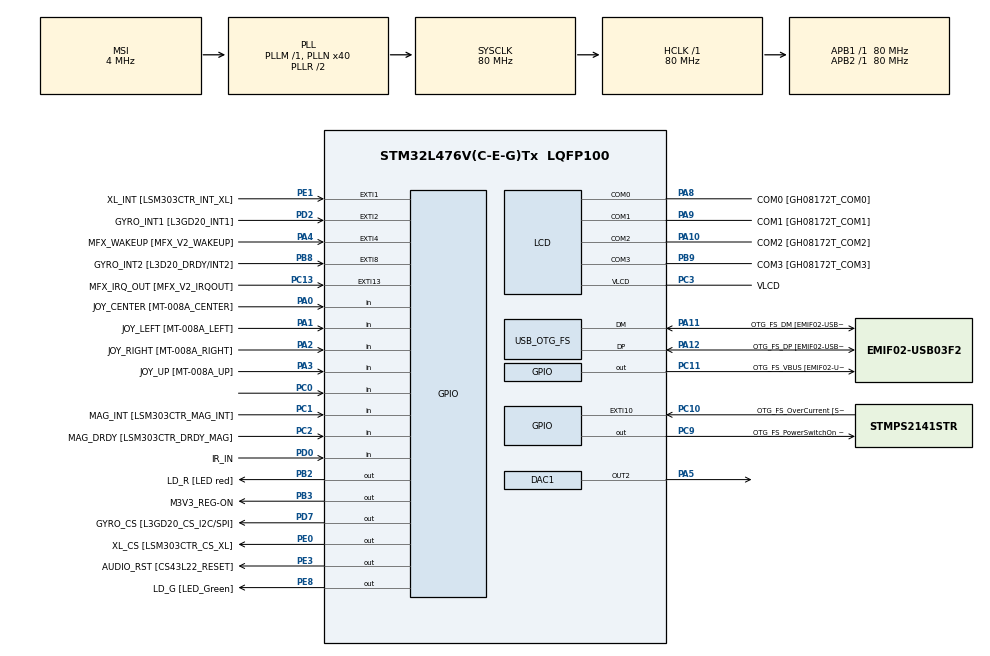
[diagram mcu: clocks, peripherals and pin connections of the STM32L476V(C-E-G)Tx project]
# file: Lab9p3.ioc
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DAC1.DAC_Channel-DAC_OUT2=DAC_CHANNEL_2
Mcu.Family=STM32L4
Mcu.Name=STM32L476V(C-E-G)Tx
Mcu.Package=LQFP100
NVIC.LCD_IRQn=true\:0\:0\:false\:false\:true\:true\:false\:true
NVIC.OTG_FS_IRQn=true\:0\:0\:false\:false\:true\:true\:true\:true
NVIC.PriorityGroup=NVIC_PRIORITYGROUP_4
NVIC.TIM1_UP_TIM16_IRQn=true\:0\:0\:false\:false\:true\:true\:true\:true
NVIC.TIM6_DAC_IRQn=true\:0\:0\:false\:false\:true\:true\:true\:true
PA0.GPIO_Label=JOY_CENTER [MT-008A_CENTER]
PA0.GPIO_Mode=GPIO_MODE_INPUT
PA0.GPIO_PuPd=GPIO_PULLDOWN
PA0.Signal=GPIO_Input
PA1.GPIO_Label=JOY_LEFT [MT-008A_LEFT]
PA1.GPIO_Mode=GPIO_MODE_INPUT
PA1.GPIO_PuPd=GPIO_PULLDOWN
PA1.Signal=GPIO_Input
PA10.GPIO_Label=COM2 [GH08172T_COM2]
PA10.GPIO_Mode=GPIO_MODE_AF_PP
PA10.GPIO_PuPd=GPIO_NOPULL
PA10.GPIO_Speed=GPIO_SPEED_FREQ_LOW
PA10.Mode=1/4 Duty Cycle
PA10.Signal=LCD_COM2
PA11.GPIO_Label=OTG_FS_DM [EMIF02-USB03F2_D-out]
PA11.GPIO_Mode=GPIO_MODE_AF_PP
PA11.GPIO_PuPd=GPIO_NOPULL
PA11.GPIO_Speed=GPIO_SPEED_FREQ_VERY_HIGH
PA11.Mode=Host_Only
PA11.Signal=USB_OTG_FS_DM
PA12.GPIO_Label=OTG_FS_DP [EMIF02-USB03F2_D+out]
PA12.GPIO_Mode=GPIO_MODE_AF_PP
PA12.GPIO_PuPd=GPIO_NOPULL
PA12.GPIO_Speed=GPIO_SPEED_FREQ_VERY_HIGH
PA12.Mode=Host_Only
PA12.Signal=USB_OTG_FS_DP
PA13\ (JTMS-SWDIO).GPIO_Label=SWDIO
PA13\ (JTMS-SWDIO).Mode=Serial_Wire
PA13\ (JTMS-SWDIO).Signal=SYS_JTMS-SWDIO
PA14\ (JTCK-SWCLK).GPIO_Label=SWCLK
PA14\ (JTCK-SWCLK).Mode=Serial_Wire
PA14\ (JTCK-SWCLK).Signal=SYS_JTCK-SWCLK
PA15\ (JTDI).GPIO_Label=SEG10 [GH08172T_SEG10]
PA15\ (JTDI).GPIO_Mode=GPIO_MODE_AF_PP
PA15\ (JTDI).GPIO_PuPd=GPIO_NOPULL
PA15\ (JTDI).GPIO_Speed=GPIO_SPEED_FREQ_LOW
PA15\ (JTDI).Signal=LCD_SEG17
PA2.GPIO_Label=JOY_RIGHT [MT-008A_RIGHT]
PA2.GPIO_Mode=GPIO_MODE_INPUT
PA2.GPIO_PuPd=GPIO_PULLDOWN
PA2.Signal=GPIO_Input
PA3.GPIO_Label=JOY_UP [MT-008A_UP]
PA3.GPIO_Mode=GPIO_MODE_INPUT
PA3.GPIO_PuPd=GPIO_PULLDOWN
PA3.Signal=GPIO_Input
PA4.GPIO_Label=MFX_WAKEUP [MFX_V2_WAKEUP]
PA4.GPIO_ModeDefaultEXTI=GPIO_MODE_EVT_RISING
PA4.GPIO_PuPd=GPIO_NOPULL
PA4.Signal=GPXTI4
PA5.Signal=COMP_DAC12_group
PA6.GPIO_Label=SEG23 [GH08172T_SEG23]
PA6.GPIO_Mode=GPIO_MODE_AF_PP
PA6.GPIO_PuPd=GPIO_NOPULL
PA6.GPIO_Speed=GPIO_SPEED_FREQ_LOW
PA6.Signal=LCD_SEG3
PA7.GPIO_Label=SEG0 [GH08172T_SEG0]
PA7.GPIO_Mode=GPIO_MODE_AF_PP
PA7.GPIO_PuPd=GPIO_NOPULL
PA7.GPIO_Speed=GPIO_SPEED_FREQ_LOW
PA7.Signal=LCD_SEG4
PA8.GPIO_Label=COM0 [GH08172T_COM0]
PA8.GPIO_Mode=GPIO_MODE_AF_PP
PA8.GPIO_PuPd=GPIO_NOPULL
PA8.GPIO_Speed=GPIO_SPEED_FREQ_LOW
PA8.Mode=1/4 Duty Cycle
PA8.Signal=LCD_COM0
PA9.GPIO_Label=COM1 [GH08172T_COM1]
PA9.GPIO_Mode=GPIO_MODE_AF_PP
PA9.GPIO_PuPd=GPIO_NOPULL
PA9.GPIO_Speed=GPIO_SPEED_FREQ_LOW
PA9.Mode=1/4 Duty Cycle
PA9.Signal=LCD_COM1
PB0.GPIO_Label=SEG21 [GH08172T_SEG21]
PB0.GPIO_Mode=GPIO_MODE_AF_PP
PB0.GPIO_PuPd=GPIO_NOPULL
PB0.GPIO_Speed=GPIO_SPEED_FREQ_LOW
PB0.Signal=LCD_SEG5
PB1.GPIO_Label=SEG2 [GH08172T_SEG2]
PB1.GPIO_Mode=GPIO_MODE_AF_PP
PB1.GPIO_PuPd=GPIO_NOPULL
PB1.GPIO_Speed=GPIO_SPEED_FREQ_LOW
PB1.Signal=LCD_SEG6
PB10.GPIO_Label=MFX_I2C_SLC [MFX_V2_I2C_SCL]
PB10.GPIO_Mode=GPIO_MODE_AF_OD
PB10.GPIO_PuPdOD=GPIO_PULLUP
PB10.GPIO_Speed=GPIO_SPEED_FREQ_VERY_HIGH
PB10.Signal=I2C2_SCL
PB11.GPIO_Label=MFX_I2C_SDA [MFX_V2_I2C_SDA]
PB11.GPIO_Mode=GPIO_MODE_AF_OD
PB11.GPIO_PuPdOD=GPIO_PULLUP
PB11.GPIO_Speed=GPIO_SPEED_FREQ_VERY_HIGH
PB11.Signal=I2C2_SDA
PB12.GPIO_Label=SEG20 [GH08172T_SEG20]
PB12.GPIO_Mode=GPIO_MODE_AF_PP
PB12.GPIO_PuPd=GPIO_NOPULL
PB12.GPIO_Speed=GPIO_SPEED_FREQ_LOW
PB12.Signal=LCD_SEG12
PB13.GPIO_Label=SEG3 [GH08172T_SEG3]
PB13.GPIO_Mode=GPIO_MODE_AF_PP
PB13.GPIO_PuPd=GPIO_NOPULL
PB13.GPIO_Speed=GPIO_SPEED_FREQ_LOW
PB13.Signal=LCD_SEG13
PB14.GPIO_Label=SEG19 [GH08172T_SEG19]
PB14.GPIO_Mode=GPIO_MODE_AF_PP
PB14.GPIO_PuPd=GPIO_NOPULL
PB14.GPIO_Speed=GPIO_SPEED_FREQ_LOW
PB14.Signal=LCD_SEG14
PB15.GPIO_Label=SEG4 [GH08172T_SEG4]
PB15.GPIO_Mode=GPIO_MODE_AF_PP
PB15.GPIO_PuPd=GPIO_NOPULL
PB15.GPIO_Speed=GPIO_SPEED_FREQ_LOW
PB15.Signal=LCD_SEG15
PB2.GPIO_Label=LD_R [LED red]
PB2.GPIO_ModeDefaultOutputPP=GPIO_MODE_OUTPUT_PP
PB2.GPIO_PuPd=GPIO_PULLUP
PB2.GPIO_Speed=GPIO_SPEED_FREQ_VERY_HIGH
PB2.Signal=GPIO_Output
PB3\ (JTDO-TRACESWO).GPIO_Label=M3V3_REG-ON
PB3\ (JTDO-TRACESWO).GPIO_ModeDefaultOutputPP=GPIO_MODE_OUTPUT_PP
PB3\ (JTDO-TRACESWO).GPIO_PuPd=GPIO_NOPULL
PB3\ (JTDO-TRACESWO).GPIO_Speed=GPIO_SPEED_FREQ_LOW
PB3\ (JTDO-TRACESWO).Signal=GPIO_Output
PB4\ (NJTRST).GPIO_Label=SEG11 [GH08172T_SEG11]
PB4\ (NJTRST).GPIO_Mode=GPIO_MODE_AF_PP
PB4\ (NJTRST).GPIO_PuPd=GPIO_NOPULL
PB4\ (NJTRST).GPIO_Speed=GPIO_SPEED_FREQ_LOW
PB4\ (NJTRST).Signal=LCD_SEG8
PB5.GPIO_Label=SEG12 [GH08172T_SEG12]
PB5.GPIO_Mode=GPIO_MODE_AF_PP
PB5.GPIO_PuPd=GPIO_NOPULL
PB5.GPIO_Speed=GPIO_SPEED_FREQ_LOW
PB5.Signal=LCD_SEG9
PB6.GPIO_FM6=__NULL
PB6.GPIO_Label=I2C1_SCL [SSM-104-L-DH_SCL]
PB6.GPIO_Mode=GPIO_MODE_AF_OD
PB6.GPIO_PuPdOD=GPIO_PULLUP
PB6.GPIO_Speed=GPIO_SPEED_FREQ_VERY_HIGH
PB6.Signal=I2C1_SCL
PB7.GPIO_FM7=__NULL
PB7.GPIO_Label=I2C1_SDA [SSM-104-L-DH_SDA]
PB7.GPIO_Mode=GPIO_MODE_AF_OD
PB7.GPIO_PuPdOD=GPIO_PULLUP
PB7.GPIO_Speed=GPIO_SPEED_FREQ_VERY_HIGH
PB7.Signal=I2C1_SDA
PB8.GPIO_Label=GYRO_INT2 [L3D20_DRDY/INT2]
PB8.GPIO_ModeDefaultEXTI=GPIO_MODE_EVT_RISING
PB8.GPIO_PuPd=GPIO_NOPULL
PB8.Signal=GPXTI8
PB9.GPIO_FM9=__NULL
PB9.GPIO_Label=COM3 [GH08172T_COM3]
PB9.GPIO_Mode=GPIO_MODE_AF_PP
PB9.GPIO_PuPd=GPIO_NOPULL
PB9.GPIO_Speed=GPIO_SPEED_FREQ_LOW
PB9.Mode=1/4 Duty Cycle
PB9.Signal=LCD_COM3
PC0.Signal=GPIO_Input
PC1.GPIO_Label=MAG_INT [LSM303CTR_MAG_INT]
PC1.GPIO_Mode=GPIO_MODE_INPUT
PC1.GPIO_PuPd=GPIO_NOPULL
PC1.Signal=GPIO_Input
PC10.GPIO_Label=OTG_FS_OverCurrent [STMPS2141STR_FAULT]
PC10.GPIO_ModeDefaultEXTI=GPIO_MODE_EVT_RISING
PC10.GPIO_PuPd=GPIO_NOPULL
PC10.Signal=GPXTI10
PC11.GPIO_Label=OTG_FS_VBUS [EMIF02-USB03F2_Vbus]
PC11.GPIO_ModeDefaultOutputPP=GPIO_MODE_OUTPUT_PP
PC11.GPIO_PuPd=GPIO_NOPULL
PC11.GPIO_Speed=GPIO_SPEED_FREQ_LOW
PC11.Signal=GPIO_Output
PC13.GPIO_Label=MFX_IRQ_OUT [MFX_V2_IRQOUT]
PC13.GPIO_ModeDefaultEXTI=GPIO_MODE_EVT_RISING
PC13.GPIO_PuPd=GPIO_NOPULL
PC13.Signal=GPXTI13
PC14-OSC32_IN\ (PC14).Mode=LSE-External-Oscillator
PC14-OSC32_IN\ (PC14).Signal=RCC_OSC32_IN
PC15-OSC32_OUT\ (PC15).Mode=LSE-External-Oscillator
PC15-OSC32_OUT\ (PC15).Signal=RCC_OSC32_OUT
PC2.GPIO_Label=MAG_DRDY [LSM303CTR_DRDY_MAG]
PC2.GPIO_Mode=GPIO_MODE_INPUT
PC2.GPIO_PuPd=GPIO_NOPULL
PC2.Signal=GPIO_Input
PC3.GPIO_Label=VLCD
PC3.GPIO_Mode=GPIO_MODE_AF_PP
PC3.GPIO_PuPd=GPIO_NOPULL
PC3.GPIO_Speed=GPIO_SPEED_FREQ_LOW
PC3.Mode=1/4 Duty Cycle
PC3.Signal=LCD_VLCD
PC4.GPIO_Label=SEG22 [GH08172T_SEG22]
PC4.GPIO_Mode=GPIO_MODE_AF_PP
PC4.GPIO_PuPd=GPIO_NOPULL
PC4.GPIO_Speed=GPIO_SPEED_FREQ_LOW
PC4.Signal=LCD_SEG22
PC5.GPIO_Label=SEG1 [GH08172T_SEG1]
PC5.GPIO_Mode=GPIO_MODE_AF_PP
PC5.GPIO_PuPd=GPIO_NOPULL
PC5.GPIO_Speed=GPIO_SPEED_FREQ_LOW
PC5.Signal=LCD_SEG23
PC6.GPIO_Label=SEG14 [GH08172T_SEG14]
PC6.GPIO_Mode=GPIO_MODE_AF_PP
PC6.GPIO_PuPd=GPIO_NOPULL
PC6.GPIO_Speed=GPIO_SPEED_FREQ_LOW
PC6.Signal=LCD_SEG24
PC7.GPIO_Label=SEG9 [GH08172T_SEG9]
PC7.GPIO_Mode=GPIO_MODE_AF_PP
PC7.GPIO_PuPd=GPIO_NOPULL
PC7.GPIO_Speed=GPIO_SPEED_FREQ_LOW
PC7.Signal=LCD_SEG25
PC8.GPIO_Label=SEG13 [GH08172T_SEG13]
PC8.GPIO_Mode=GPIO_MODE_AF_PP
PC8.GPIO_PuPd=GPIO_NOPULL
PC8.GPIO_Speed=GPIO_SPEED_FREQ_LOW
PC8.Signal=LCD_SEG26
PC9.GPIO_Label=OTG_FS_PowerSwitchOn [STMPS2141STR_EN]
PC9.GPIO_ModeDefaultOutputPP=GPIO_MODE_OUTPUT_PP
PC9.GPIO_PuPd=GPIO_NOPULL
PC9.GPIO_Speed=GPIO_SPEED_FREQ_LOW
PC9.PinState=GPIO_PIN_SET
PC9.Signal=GPIO_Output
PD0.GPIO_Label=IR_IN
PD0.Signal=GPIO_Input
PD1.GPIO_Label=MEMS_SCK [L3GD20_SCL/SPC]
PD1.GPIO_Mode=GPIO_MODE_AF_PP
PD1.GPIO_PuPd=GPIO_NOPULL
PD1.GPIO_Speed=GPIO_SPEED_FREQ_VERY_HIGH
PD1.Signal=SPI2_SCK
PD10.GPIO_Label=SEG17 [GH08172T_SEG17]
PD10.GPIO_Mode=GPIO_MODE_AF_PP
PD10.GPIO_PuPd=GPIO_NOPULL
PD10.GPIO_Speed=GPIO_SPEED_FREQ_LOW
PD10.Signal=LCD_SEG30
PD11.GPIO_Label=SEG6 [GH08172T_SEG6]
PD11.GPIO_Mode=GPIO_MODE_AF_PP
PD11.GPIO_PuPd=GPIO_NOPULL
PD11.GPIO_Speed=GPIO_SPEED_FREQ_LOW
PD11.Signal=LCD_SEG31
PD12.GPIO_Label=SEG16 [GH08172T_SEG16]
PD12.GPIO_Mode=GPIO_MODE_AF_PP
PD12.GPIO_PuPd=GPIO_NOPULL
PD12.GPIO_Speed=GPIO_SPEED_FREQ_LOW
PD12.Signal=LCD_SEG32
PD13.GPIO_Label=SEG7 [GH08172T_SEG7]
PD13.GPIO_Mode=GPIO_MODE_AF_PP
PD13.GPIO_PuPd=GPIO_NOPULL
PD13.GPIO_Speed=GPIO_SPEED_FREQ_LOW
PD13.Signal=LCD_SEG33
PD14.GPIO_Label=SEG15 [GH08172T_SEG15]
PD14.GPIO_Mode=GPIO_MODE_AF_PP
PD14.GPIO_PuPd=GPIO_NOPULL
PD14.GPIO_Speed=GPIO_SPEED_FREQ_LOW
PD14.Signal=LCD_SEG34
PD15.GPIO_Label=SEG8 [GH08172T_SEG8]
PD15.GPIO_Mode=GPIO_MODE_AF_PP
PD15.GPIO_PuPd=GPIO_NOPULL
PD15.GPIO_Speed=GPIO_SPEED_FREQ_LOW
PD15.Signal=LCD_SEG35
PD2.GPIO_Label=GYRO_INT1 [L3GD20_INT1]
PD2.GPIO_ModeDefaultEXTI=GPIO_MODE_EVT_RISING
PD2.GPIO_PuPd=GPIO_NOPULL
PD2.Signal=GPXTI2
PD3.GPIO_Label=MEMS_MISO [L3GD20_SA0/SDO]
PD3.GPIO_Mode=GPIO_MODE_AF_PP
PD3.GPIO_PuPd=GPIO_NOPULL
PD3.GPIO_Speed=GPIO_SPEED_FREQ_VERY_HIGH
PD3.Signal=SPI2_MISO
PD4.GPIO_Label=MEMS_MOSI [L3GD20_SDA/SDI/SDO]
PD4.GPIO_Mode=GPIO_MODE_AF_PP
PD4.GPIO_PuPd=GPIO_NOPULL
PD4.GPIO_Speed=GPIO_SPEED_FREQ_VERY_HIGH
PD4.Signal=SPI2_MOSI
PD5.GPIO_Label=USART_TX
PD5.GPIO_Mode=GPIO_MODE_AF_PP
PD5.GPIO_PuPd=GPIO_PULLUP
PD5.GPIO_Speed=GPIO_SPEED_FREQ_VERY_HIGH
PD5.Signal=USART2_TX
PD6.GPIO_Label=USART_RX
PD6.GPIO_Mode=GPIO_MODE_AF_PP
PD6.GPIO_PuPd=GPIO_PULLUP
PD6.GPIO_Speed=GPIO_SPEED_FREQ_VERY_HIGH
PD6.Signal=USART2_RX
PD7.GPIO_Label=GYRO_CS [L3GD20_CS_I2C/SPI]
PD7.GPIO_ModeDefaultOutputPP=GPIO_MODE_OUTPUT_PP
PD7.GPIO_PuPd=GPIO_NOPULL
PD7.GPIO_Speed=GPIO_SPEED_FREQ_VERY_HIGH
PD7.Signal=GPIO_Output
PD8.GPIO_Label=SEG18 [GH08172T_SEG18]
PD8.GPIO_Mode=GPIO_MODE_AF_PP
PD8.GPIO_PuPd=GPIO_NOPULL
PD8.GPIO_Speed=GPIO_SPEED_FREQ_LOW
PD8.Signal=LCD_SEG28
PD9.GPIO_Label=SEG5 [GH08172T_SEG5]
PD9.GPIO_Mode=GPIO_MODE_AF_PP
PD9.GPIO_PuPd=GPIO_NOPULL
PD9.GPIO_Speed=GPIO_SPEED_FREQ_LOW
PD9.Signal=LCD_SEG29
PE0.GPIO_Label=XL_CS [LSM303CTR_CS_XL]
PE0.GPIO_ModeDefaultOutputPP=GPIO_MODE_OUTPUT_PP
PE0.GPIO_PuPd=GPIO_NOPULL
PE0.GPIO_Speed=GPIO_SPEED_FREQ_LOW
PE0.Signal=GPIO_Output
PE1.GPIO_Label=XL_INT [LSM303CTR_INT_XL]
PE1.GPIO_ModeDefaultEXTI=GPIO_MODE_EVT_RISING
PE1.GPIO_PuPd=GPIO_NOPULL
PE1.Signal=GPXTI1
PE10.GPIO_Label=QSPI_CLK [N25Q128A13EF840E_C]
PE10.GPIO_Mode=GPIO_MODE_AF_PP
PE10.GPIO_PuPd=GPIO_NOPULL
PE10.GPIO_Speed=GPIO_SPEED_FREQ_VERY_HIGH
PE10.Signal=QUADSPI_CLK
PE11.GPIO_Label=QSPI_CS [N25Q128A13EF840E_S\#]
PE11.GPIO_Mode=GPIO_MODE_AF_PP
PE11.GPIO_PuPd=GPIO_NOPULL
PE11.GPIO_Speed=GPIO_SPEED_FREQ_VERY_HIGH
PE11.Signal=QUADSPI_NCS
PE12.GPIO_Label=QSPI_D0 [N25Q128A13EF840E_DQ0]
PE12.GPIO_Mode=GPIO_MODE_AF_PP
PE12.GPIO_PuPd=GPIO_NOPULL
PE12.GPIO_Speed=GPIO_SPEED_FREQ_VERY_HIGH
PE12.Signal=QUADSPI_BK1_IO0
PE13.GPIO_Label=QSPI_D1 [N25Q128A13EF840E_DQ1]
PE13.GPIO_Mode=GPIO_MODE_AF_PP
PE13.GPIO_PuPd=GPIO_NOPULL
PE13.GPIO_Speed=GPIO_SPEED_FREQ_VERY_HIGH
PE13.Signal=QUADSPI_BK1_IO1
PE14.GPIO_Label=QSPI_D2 [N25Q128A13EF840E_DQ2]
PE14.GPIO_Mode=GPIO_MODE_AF_PP
PE14.GPIO_PuPd=GPIO_NOPULL
PE14.GPIO_Speed=GPIO_SPEED_FREQ_VERY_HIGH
PE14.Signal=QUADSPI_BK1_IO2
PE15.GPIO_Label=QSPI_D3 [N25Q128A13EF840E_DQ3]
PE15.GPIO_Mode=GPIO_MODE_AF_PP
PE15.GPIO_PuPd=GPIO_NOPULL
PE15.GPIO_Speed=GPIO_SPEED_FREQ_VERY_HIGH
PE15.Signal=QUADSPI_BK1_IO3
PE2.GPIO_Label=SAI1_MCK [CS43L22_MCLK]
PE2.GPIO_Mode=GPIO_MODE_AF_PP
PE2.GPIO_PuPd=GPIO_NOPULL
PE2.GPIO_Speed=GPIO_SPEED_FREQ_VERY_HIGH
PE2.Signal=SAI1_MCLK_A
PE3.GPIO_Label=AUDIO_RST [CS43L22_RESET]
PE3.GPIO_ModeDefaultOutputPP=GPIO_MODE_OUTPUT_PP
PE3.GPIO_PuPd=GPIO_NOPULL
PE3.GPIO_Speed=GPIO_SPEED_FREQ_HIGH
PE3.Signal=GPIO_Output
PE4.GPIO_Label=SAI1_FS [CS43L22_LRCK]
PE4.GPIO_Mode=GPIO_MODE_AF_PP
PE4.GPIO_PuPd=GPIO_NOPULL
PE4.GPIO_Speed=GPIO_SPEED_FREQ_VERY_HIGH
PE4.Signal=SAI1_FS_A
PE5.GPIO_Label=SAI1_SCK [CS43L22_SCLK]
PE5.GPIO_Mode=GPIO_MODE_AF_PP
PE5.GPIO_PuPd=GPIO_NOPULL
PE5.GPIO_Speed=GPIO_SPEED_FREQ_VERY_HIGH
PE5.Signal=SAI1_SCK_A
PE6.GPIO_Label=SAI1_SD [CS43L22_SDIN]
PE6.GPIO_Mode=GPIO_MODE_AF_PP
PE6.GPIO_PuPd=GPIO_NOPULL
PE6.GPIO_Speed=GPIO_SPEED_FREQ_VERY_HIGH
PE6.Signal=SAI1_SD_A
PE7.GPIO_Label=AUDIO_DIN [MP34DT01_DOUT]
PE7.GPIO_Mode=GPIO_MODE_AF_PP
PE7.GPIO_PuPd=GPIO_NOPULL
PE7.GPIO_Speed=GPIO_SPEED_FREQ_VERY_HIGH
PE7.Signal=SAI1_SD_B
PE8.GPIO_Label=LD_G [LED_Green]
PE8.GPIO_ModeDefaultOutputPP=GPIO_MODE_OUTPUT_PP
PE8.GPIO_PuPd=GPIO_PULLUP
PE8.GPIO_Speed=GPIO_SPEED_FREQ_VERY_HIGH
PE8.Signal=GPIO_Output
PE9.GPIO_Label=AUDIO_CLK [MP34DT01_CLK]
PE9.GPIO_Mode=GPIO_MODE_AF_PP
PE9.GPIO_PuPd=GPIO_NOPULL
PE9.GPIO_Speed=GPIO_SPEED_FREQ_LOW
PE9.Signal=SAI1_FS_B
PH0-OSC_IN\ (PH0).Mode=HSE-External-Oscillator
PH0-OSC_IN\ (PH0).Signal=RCC_OSC_IN
PH1-OSC_OUT\ (PH1).Mode=HSE-External-Oscillator
PH1-OSC_OUT\ (PH1).Signal=RCC_OSC_OUT
ProjectManager.HeapSize=0x400
ProjectManager.StackSize=0x800
ProjectManager.TargetToolchain=MDK-ARM V5.27
RCC.ADCFreq_Value=48000000
RCC.AHBFreq_Value=80000000
RCC.APB1Freq_Value=80000000
RCC.APB1TimFreq_Value=80000000
RCC.APB2Freq_Value=80000000
RCC.APB2TimFreq_Value=80000000
RCC.CortexFreq_Value=80000000
RCC.HCLKFreq_Value=80000000
RCC.HSE_VALUE=8000000
RCC.HSI_VALUE=16000000
RCC.MSI_VALUE=4000000
RCC.PLLN=40
RCC.PLLSAI1N=24
RCC.PREFETCH_ENABLE=1
RCC.SYSCLKFreq_VALUE=80000000
RCC.SYSCLKSource=RCC_SYSCLKSOURCE_PLLCLK
RCC.USBFreq_Value=48000000
RCC.VCOOutputFreq_Value=160000000
SH.COMP_DAC12_group.0=DAC1_OUT2,DAC_OUT2
TIM16.Period=39999
TIM16.Prescaler=199
TIM6.Period=999
TIM6.Prescaler=4
TIM6.TIM_MasterOutputTrigger=TIM_TRGO_UPDATE
USB_HOST.BSP.number=1
USB_HOST.USBH_HandleTypeDef=hUsbHostFS
USB_HOST.VirtualModeFS=Msc
USB_HOST0.BSP.STBoard=false
USB_HOST0.BSP.api=Unknown
USB_HOST0.BSP.instance=PC9
USB_HOST0.BSP.ip=GPIO
USB_HOST0.BSP.mode=Output
USB_HOST0.BSP.name=Drive_VBUS_FS
USB_HOST0.BSP.solution=PC9
USB_OTG_FS.VirtualMode=Host_Only
USB_OTG_FS.phy_itface=HCD_PHY_EMBEDDED
VP_FATFS_VS_USB.Mode=USB
VP_RTC_VS_RTC_Activate.Mode=RTC_Enabled
VP_TIM16_VS_ClockSourceINT.Mode=Enable_Timer
VP_TIM6_VS_ClockSourceINT.Mode=Enable_Timer
VP_USB_HOST_VS_USB_HOST_MSC_FS.Mode=MSC_FS
board=STM32L476G-DISCO

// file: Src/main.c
/* USER CODE BEGIN Header */
/**
  ******************************************************************************
  * @file           : main.c
  * @brief          : Main program body
  ******************************************************************************
  * @attention
  *
  * <h2><center>&copy; Copyright (c) 2020 STMicroelectronics.
  * All rights reserved.</center></h2>
  *
  * This software component is licensed by ST under Ultimate Liberty license
  * SLA0044, the "License"; You may not use this file except in compliance with
  * the License. You may obtain a copy of the License at:
  *                             www.st.com/SLA0044
  *
  ******************************************************************************
  */
/* USER CODE END Header */
#include "main.h"
#include "fatfs.h"
#include "usb_host.h"

/* USER CODE BEGIN Includes */
#include <stdbool.h>
#include "song16.h"
#include "stm32l476g_discovery.h"
#include "stm32l476g_discovery_glass_lcd.h"
#include "display.h"

/* USER CODE END Includes */

DAC_HandleTypeDef hdac1;

LCD_HandleTypeDef hlcd;

RTC_HandleTypeDef hrtc;

TIM_HandleTypeDef htim6;
TIM_HandleTypeDef htim16;

/* USER CODE BEGIN PV */

extern ApplicationTypeDef Appli_state;

int16_t audiobuffer[NUM_ABUF][ABUF_SIZE]; 	/* File read buffer for audio */
volatile bool abuf_full[NUM_ABUF];
bool file_open = false;
int fill_buf = 0;
int lastbuffer = 0;
volatile uint8_t volume = DFLT_VOLUME;		// Volume range is 0 to 255
uint8_t noisehigh[8] = {0xff, 0xdd, 0xbb, 0x99, 0x77, 0x55, 0x33, 0x11};

char *rfilename = "songfile.raw";

FIL MyFile;                   /* File object */

/* USER CODE END PV */

void SystemClock_Config(void);
static void MX_GPIO_Init(void);
static void MX_DAC1_Init(void);
static void MX_TIM6_Init(void);
static void MX_RTC_Init(void);
static void MX_LCD_Init(void);
static void MX_TIM16_Init(void);
void MX_USB_HOST_Process(void);

/* USER CODE BEGIN 0 */

static void FS_FileOpen(void) {

	 /* Register the file system object to the FatFs module */
  if(f_mount(&USBHFatFS, (TCHAR const*)USBHPath, 0) == FR_OK) {
		/* Open the text file object with read access */
		if(f_open(&MyFile, rfilename, FA_READ) == FR_OK) {
			HAL_GPIO_WritePin(LD_G_GPIO_Port, LD_G_Pin,GPIO_PIN_SET);
			file_open = true;
			return;
		}
	}
			HAL_GPIO_WritePin(LD_R_GPIO_Port, LD_R_Pin,GPIO_PIN_SET);
}

static void FS_FileClose(void) {
	/* Close the open text file */
	f_close(&MyFile);
	file_open = false;
}

static void FS_FileRead(uint8_t *abuffer) {
	FRESULT res;                            /* FatFs function common result code */
  uint32_t bytesread;                     /* File write/read counts */

	 			/* Read data from the 16-bit raw file if the next buffer is free */
	res = f_read(&MyFile, abuffer, ABUF_BYTE_SIZE, (void *)&bytesread);
	if((bytesread < ABUF_BYTE_SIZE) && (res == FR_OK)) {
		lastbuffer = bytesread;
		for (int i = bytesread/2; i<ABUF_BYTE_SIZE/2; i++) {
			abuffer[i+i+1] = noisehigh[i%8];
			abuffer[i+i] = 0;
		}
	}
}

void write_DAC1Ch2(int16_t dacval, uint8_t volume) {
	int tempval;
	tempval = (((int) dacval * (int) volume) + 8388608) >> 12;
	hdac1.Instance->DHR12R2 = tempval;
}

/* USER CODE END 0 */

int main(void)
{

  /* MCU Configuration--------------------------------------------------------*/

  /* Reset of all peripherals, Initializes the Flash interface and the Systick. */
  HAL_Init();

  /* Configure the system clock */
  SystemClock_Config();

  /* Initialize all configured peripherals */
  MX_GPIO_Init();
  MX_USB_HOST_Init();
  MX_FATFS_Init();
  MX_DAC1_Init();
  MX_TIM6_Init();
  MX_RTC_Init();
  MX_LCD_Init();
  MX_TIM16_Init();
  /* USER CODE BEGIN 2 */

	/* initialize data structures */

	for (int i=0; i<NUM_ABUF; i++) {
		abuf_full[i] = false;
	}
	/* start devices */

  HAL_DAC_Start(&hdac1, DAC1_CHANNEL_2);
	HAL_TIM_Base_Start_IT(&htim6);			/* Start Timer 6 at 16KHz to run DAC */
	HAL_TIM_Base_Start_IT(&htim16);
	BSP_LCD_GLASS_Init();
	BSP_LCD_GLASS_ClearBar(0xFFFFFFFF);
	BSP_LCD_GLASS_Clear();
	uint8_t x = 48;//set up all zeroes
	BSP_LCD_GLASS_DisplayChar(&x, POINT_OFF, DOUBLEPOINT_OFF , 5);
	BSP_LCD_GLASS_DisplayChar(&x, POINT_OFF, DOUBLEPOINT_OFF , 4);
	BSP_LCD_GLASS_DisplayChar(&x, POINT_OFF, DOUBLEPOINT_ON , 3);
	BSP_LCD_GLASS_DisplayChar(&x, POINT_OFF, DOUBLEPOINT_OFF , 2);

  /* USER CODE END 2 */

  /* Infinite loop */
  while (1)
  {
    MX_USB_HOST_Process();

    /* USER CODE BEGIN 3 */
    /* Mass Storage Application State Machine */
    switch(Appli_state) {
      case APPLICATION_READY:
        if (!file_open) FS_FileOpen();
			  if (file_open && (lastbuffer == 0)) {
					if (!abuf_full[fill_buf]) {
						FS_FileRead((uint8_t *) audiobuffer[fill_buf]);
						abuf_full[fill_buf++] = true;
						fill_buf = fill_buf % NUM_ABUF;
					}
				}
				if (file_open && (lastbuffer != 0)) {
					FS_FileClose();
          Appli_state = APPLICATION_IDLE;
				}
        break;

      case APPLICATION_IDLE:
        default:
        break;
      }

		}
  /* USER CODE END 3 */
}

void SystemClock_Config(void)
{
  RCC_OscInitTypeDef RCC_OscInitStruct = {0};
  RCC_ClkInitTypeDef RCC_ClkInitStruct = {0};

  /** Configure the main internal regulator output voltage
  */
  if (HAL_PWREx_ControlVoltageScaling(PWR_REGULATOR_VOLTAGE_SCALE1) != HAL_OK)
  {
    Error_Handler();
  }

  /** Configure LSE Drive Capability
  */
  HAL_PWR_EnableBkUpAccess();
  __HAL_RCC_LSEDRIVE_CONFIG(RCC_LSEDRIVE_LOW);

  /** Initializes the RCC Oscillators according to the specified parameters
  * in the RCC_OscInitTypeDef structure.
  */
  RCC_OscInitStruct.OscillatorType = RCC_OSCILLATORTYPE_LSI|RCC_OSCILLATORTYPE_LSE
                              |RCC_OSCILLATORTYPE_MSI;
  RCC_OscInitStruct.LSEState = RCC_LSE_ON;
  RCC_OscInitStruct.LSIState = RCC_LSI_ON;
  RCC_OscInitStruct.MSIState = RCC_MSI_ON;
  RCC_OscInitStruct.MSICalibrationValue = 0;
  RCC_OscInitStruct.MSIClockRange = RCC_MSIRANGE_6;
  RCC_OscInitStruct.PLL.PLLState = RCC_PLL_ON;
  RCC_OscInitStruct.PLL.PLLSource = RCC_PLLSOURCE_MSI;
  RCC_OscInitStruct.PLL.PLLM = 1;
  RCC_OscInitStruct.PLL.PLLN = 40;
  RCC_OscInitStruct.PLL.PLLP = RCC_PLLP_DIV7;
  RCC_OscInitStruct.PLL.PLLQ = RCC_PLLQ_DIV2;
  RCC_OscInitStruct.PLL.PLLR = RCC_PLLR_DIV2;
  if (HAL_RCC_OscConfig(&RCC_OscInitStruct) != HAL_OK)
  {
    Error_Handler();
  }

  /** Initializes the CPU, AHB and APB buses clocks
  */
  RCC_ClkInitStruct.ClockType = RCC_CLOCKTYPE_HCLK|RCC_CLOCKTYPE_SYSCLK
                              |RCC_CLOCKTYPE_PCLK1|RCC_CLOCKTYPE_PCLK2;
  RCC_ClkInitStruct.SYSCLKSource = RCC_SYSCLKSOURCE_PLLCLK;
  RCC_ClkInitStruct.AHBCLKDivider = RCC_SYSCLK_DIV1;
  RCC_ClkInitStruct.APB1CLKDivider = RCC_HCLK_DIV1;
  RCC_ClkInitStruct.APB2CLKDivider = RCC_HCLK_DIV1;

  if (HAL_RCC_ClockConfig(&RCC_ClkInitStruct, FLASH_LATENCY_4) != HAL_OK)
  {
    Error_Handler();
  }

  /** Enable MSI Auto calibration
  */
  HAL_RCCEx_EnableMSIPLLMode();
}

static void MX_DAC1_Init(void)
{

  DAC_ChannelConfTypeDef sConfig = {0};

  /** DAC Initialization
  */
  hdac1.Instance = DAC1;
  if (HAL_DAC_Init(&hdac1) != HAL_OK)
  {
    Error_Handler();
  }

  /** DAC channel OUT2 config
  */
  sConfig.DAC_SampleAndHold = DAC_SAMPLEANDHOLD_DISABLE;
  sConfig.DAC_Trigger = DAC_TRIGGER_NONE;
  sConfig.DAC_OutputBuffer = DAC_OUTPUTBUFFER_ENABLE;
  sConfig.DAC_ConnectOnChipPeripheral = DAC_CHIPCONNECT_DISABLE;
  sConfig.DAC_UserTrimming = DAC_TRIMMING_FACTORY;
  if (HAL_DAC_ConfigChannel(&hdac1, &sConfig, DAC_CHANNEL_2) != HAL_OK)
  {
    Error_Handler();
  }

}

static void MX_LCD_Init(void)
{

  hlcd.Instance = LCD;
  hlcd.Init.Prescaler = LCD_PRESCALER_1;
  hlcd.Init.Divider = LCD_DIVIDER_16;
  hlcd.Init.Duty = LCD_DUTY_1_4;
  hlcd.Init.Bias = LCD_BIAS_1_4;
  hlcd.Init.VoltageSource = LCD_VOLTAGESOURCE_INTERNAL;
  hlcd.Init.Contrast = LCD_CONTRASTLEVEL_0;
  hlcd.Init.DeadTime = LCD_DEADTIME_0;
  hlcd.Init.PulseOnDuration = LCD_PULSEONDURATION_0;
  hlcd.Init.MuxSegment = LCD_MUXSEGMENT_DISABLE;
  hlcd.Init.BlinkMode = LCD_BLINKMODE_OFF;
  hlcd.Init.BlinkFrequency = LCD_BLINKFREQUENCY_DIV8;
  hlcd.Init.HighDrive = LCD_HIGHDRIVE_DISABLE;
  if (HAL_LCD_Init(&hlcd) != HAL_OK)
  {
    Error_Handler();
  }

}

static void MX_RTC_Init(void)
{

  /** Initialize RTC Only
  */
  hrtc.Instance = RTC;
  hrtc.Init.HourFormat = RTC_HOURFORMAT_24;
  hrtc.Init.AsynchPrediv = 127;
  hrtc.Init.SynchPrediv = 255;
  hrtc.Init.OutPut = RTC_OUTPUT_DISABLE;
  hrtc.Init.OutPutRemap = RTC_OUTPUT_REMAP_NONE;
  hrtc.Init.OutPutPolarity = RTC_OUTPUT_POLARITY_HIGH;
  hrtc.Init.OutPutType = RTC_OUTPUT_TYPE_OPENDRAIN;
  if (HAL_RTC_Init(&hrtc) != HAL_OK)
  {
    Error_Handler();
  }

}

static void MX_TIM6_Init(void)
{

  TIM_MasterConfigTypeDef sMasterConfig = {0};

  htim6.Instance = TIM6;
  htim6.Init.Prescaler = 4;
  htim6.Init.CounterMode = TIM_COUNTERMODE_UP;
  htim6.Init.Period = 999;
  htim6.Init.AutoReloadPreload = TIM_AUTORELOAD_PRELOAD_DISABLE;
  if (HAL_TIM_Base_Init(&htim6) != HAL_OK)
  {
    Error_Handler();
  }
  sMasterConfig.MasterOutputTrigger = TIM_TRGO_UPDATE;
  sMasterConfig.MasterSlaveMode = TIM_MASTERSLAVEMODE_DISABLE;
  if (HAL_TIMEx_MasterConfigSynchronization(&htim6, &sMasterConfig) != HAL_OK)
  {
    Error_Handler();
  }

}

static void MX_TIM16_Init(void)
{

  htim16.Instance = TIM16;
  htim16.Init.Prescaler = 199;
  htim16.Init.CounterMode = TIM_COUNTERMODE_UP;
  htim16.Init.Period = 39999;
  htim16.Init.ClockDivision = TIM_CLOCKDIVISION_DIV1;
  htim16.Init.RepetitionCounter = 0;
  htim16.Init.AutoReloadPreload = TIM_AUTORELOAD_PRELOAD_DISABLE;
  if (HAL_TIM_Base_Init(&htim16) != HAL_OK)
  {
    Error_Handler();
  }

}

static void MX_GPIO_Init(void)
{
  GPIO_InitTypeDef GPIO_InitStruct = {0};

  /* GPIO Ports Clock Enable */
  __HAL_RCC_GPIOE_CLK_ENABLE();
  __HAL_RCC_GPIOC_CLK_ENABLE();
  __HAL_RCC_GPIOH_CLK_ENABLE();
  __HAL_RCC_GPIOA_CLK_ENABLE();
  __HAL_RCC_GPIOB_CLK_ENABLE();
  __HAL_RCC_GPIOD_CLK_ENABLE();

  /*Configure GPIO pin Output Level */
  HAL_GPIO_WritePin(GPIOE, AUDIO_RST_Pin|LD_G_Pin|XL_CS_Pin, GPIO_PIN_RESET);

  /*Configure GPIO pin Output Level */
  HAL_GPIO_WritePin(GPIOB, LD_R_Pin|M3V3_REG_ON_Pin, GPIO_PIN_RESET);

  /*Configure GPIO pin Output Level */
  HAL_GPIO_WritePin(OTG_FS_PowerSwitchOn_GPIO_Port, OTG_FS_PowerSwitchOn_Pin, GPIO_PIN_SET);

  /*Configure GPIO pin Output Level */
  HAL_GPIO_WritePin(OTG_FS_VBUS_GPIO_Port, OTG_FS_VBUS_Pin, GPIO_PIN_RESET);

  /*Configure GPIO pin Output Level */
  HAL_GPIO_WritePin(GYRO_CS_GPIO_Port, GYRO_CS_Pin, GPIO_PIN_RESET);

  /*Configure GPIO pins : SAI1_MCK_Pin SAI1_FS_Pin SAI1_SCK_Pin SAI1_SD_Pin
                           AUDIO_DIN_Pin */
  GPIO_InitStruct.Pin = SAI1_MCK_Pin|SAI1_FS_Pin|SAI1_SCK_Pin|SAI1_SD_Pin
                          |AUDIO_DIN_Pin;
  GPIO_InitStruct.Mode = GPIO_MODE_AF_PP;
  GPIO_InitStruct.Pull = GPIO_NOPULL;
  GPIO_InitStruct.Speed = GPIO_SPEED_FREQ_VERY_HIGH;
  GPIO_InitStruct.Alternate = GPIO_AF13_SAI1;
  HAL_GPIO_Init(GPIOE, &GPIO_InitStruct);

  /*Configure GPIO pin : AUDIO_RST_Pin */
  GPIO_InitStruct.Pin = AUDIO_RST_Pin;
  GPIO_InitStruct.Mode = GPIO_MODE_OUTPUT_PP;
  GPIO_InitStruct.Pull = GPIO_NOPULL;
  GPIO_InitStruct.Speed = GPIO_SPEED_FREQ_HIGH;
  HAL_GPIO_Init(AUDIO_RST_GPIO_Port, &GPIO_InitStruct);

  /*Configure GPIO pins : MFX_IRQ_OUT_Pin OTG_FS_OverCurrent_Pin */
  GPIO_InitStruct.Pin = MFX_IRQ_OUT_Pin|OTG_FS_OverCurrent_Pin;
  GPIO_InitStruct.Mode = GPIO_MODE_EVT_RISING;
  GPIO_InitStruct.Pull = GPIO_NOPULL;
  HAL_GPIO_Init(GPIOC, &GPIO_InitStruct);

  /*Configure GPIO pins : PC0 MAG_INT_Pin MAG_DRDY_Pin */
  GPIO_InitStruct.Pin = GPIO_PIN_0|MAG_INT_Pin|MAG_DRDY_Pin;
  GPIO_InitStruct.Mode = GPIO_MODE_INPUT;
  GPIO_InitStruct.Pull = GPIO_NOPULL;
  HAL_GPIO_Init(GPIOC, &GPIO_InitStruct);

  /*Configure GPIO pins : JOY_CENTER_Pin JOY_LEFT_Pin JOY_RIGHT_Pin JOY_UP_Pin */
  GPIO_InitStruct.Pin = JOY_CENTER_Pin|JOY_LEFT_Pin|JOY_RIGHT_Pin|JOY_UP_Pin;
  GPIO_InitStruct.Mode = GPIO_MODE_INPUT;
  GPIO_InitStruct.Pull = GPIO_PULLDOWN;
  HAL_GPIO_Init(GPIOA, &GPIO_InitStruct);

  /*Configure GPIO pin : MFX_WAKEUP_Pin */
  GPIO_InitStruct.Pin = MFX_WAKEUP_Pin;
  GPIO_InitStruct.Mode = GPIO_MODE_EVT_RISING;
  GPIO_InitStruct.Pull = GPIO_NOPULL;
  HAL_GPIO_Init(MFX_WAKEUP_GPIO_Port, &GPIO_InitStruct);

  /*Configure GPIO pin : LD_R_Pin */
  GPIO_InitStruct.Pin = LD_R_Pin;
  GPIO_InitStruct.Mode = GPIO_MODE_OUTPUT_PP;
  GPIO_InitStruct.Pull = GPIO_PULLUP;
  GPIO_InitStruct.Speed = GPIO_SPEED_FREQ_VERY_HIGH;
  HAL_GPIO_Init(LD_R_GPIO_Port, &GPIO_InitStruct);

  /*Configure GPIO pin : LD_G_Pin */
  GPIO_InitStruct.Pin = LD_G_Pin;
  GPIO_InitStruct.Mode = GPIO_MODE_OUTPUT_PP;
  GPIO_InitStruct.Pull = GPIO_PULLUP;
  GPIO_InitStruct.Speed = GPIO_SPEED_FREQ_VERY_HIGH;
  HAL_GPIO_Init(LD_G_GPIO_Port, &GPIO_InitStruct);

  /*Configure GPIO pin : AUDIO_CLK_Pin */
  GPIO_InitStruct.Pin = AUDIO_CLK_Pin;
  GPIO_InitStruct.Mode = GPIO_MODE_AF_PP;
  GPIO_InitStruct.Pull = GPIO_NOPULL;
  GPIO_InitStruct.Speed = GPIO_SPEED_FREQ_LOW;
  GPIO_InitStruct.Alternate = GPIO_AF13_SAI1;
  HAL_GPIO_Init(AUDIO_CLK_GPIO_Port, &GPIO_InitStruct);

  /*Configure GPIO pins : QSPI_CLK_Pin QSPI_CS_Pin QSPI_D0_Pin QSPI_D1_Pin
                           QSPI_D2_Pin QSPI_D3_Pin */
  GPIO_InitStruct.Pin = QSPI_CLK_Pin|QSPI_CS_Pin|QSPI_D0_Pin|QSPI_D1_Pin
                          |QSPI_D2_Pin|QSPI_D3_Pin;
  GPIO_InitStruct.Mode = GPIO_MODE_AF_PP;
  GPIO_InitStruct.Pull = GPIO_NOPULL;
  GPIO_InitStruct.Speed = GPIO_SPEED_FREQ_VERY_HIGH;
  GPIO_InitStruct.Alternate = GPIO_AF10_QUADSPI;
  HAL_GPIO_Init(GPIOE, &GPIO_InitStruct);

  /*Configure GPIO pins : MFX_I2C_SLC_Pin MFX_I2C_SDA_Pin */
  GPIO_InitStruct.Pin = MFX_I2C_SLC_Pin|MFX_I2C_SDA_Pin;
  GPIO_InitStruct.Mode = GPIO_MODE_AF_OD;
  GPIO_InitStruct.Pull = GPIO_NOPULL;
  GPIO_InitStruct.Speed = GPIO_SPEED_FREQ_VERY_HIGH;
  GPIO_InitStruct.Alternate = GPIO_AF4_I2C2;
  HAL_GPIO_Init(GPIOB, &GPIO_InitStruct);

  /*Configure GPIO pins : OTG_FS_PowerSwitchOn_Pin OTG_FS_VBUS_Pin */
  GPIO_InitStruct.Pin = OTG_FS_PowerSwitchOn_Pin|OTG_FS_VBUS_Pin;
  GPIO_InitStruct.Mode = GPIO_MODE_OUTPUT_PP;
  GPIO_InitStruct.Pull = GPIO_NOPULL;
  GPIO_InitStruct.Speed = GPIO_SPEED_FREQ_LOW;
  HAL_GPIO_Init(GPIOC, &GPIO_InitStruct);

  /*Configure GPIO pin : IR_IN_Pin */
  GPIO_InitStruct.Pin = IR_IN_Pin;
  GPIO_InitStruct.Mode = GPIO_MODE_INPUT;
  GPIO_InitStruct.Pull = GPIO_NOPULL;
  HAL_GPIO_Init(IR_IN_GPIO_Port, &GPIO_InitStruct);

  /*Configure GPIO pins : MEMS_SCK_Pin MEMS_MISO_Pin MEMS_MOSI_Pin */
  GPIO_InitStruct.Pin = MEMS_SCK_Pin|MEMS_MISO_Pin|MEMS_MOSI_Pin;
  GPIO_InitStruct.Mode = GPIO_MODE_AF_PP;
  GPIO_InitStruct.Pull = GPIO_NOPULL;
  GPIO_InitStruct.Speed = GPIO_SPEED_FREQ_VERY_HIGH;
  GPIO_InitStruct.Alternate = GPIO_AF5_SPI2;
  HAL_GPIO_Init(GPIOD, &GPIO_InitStruct);

  /*Configure GPIO pin : GYRO_INT1_Pin */
  GPIO_InitStruct.Pin = GYRO_INT1_Pin;
  GPIO_InitStruct.Mode = GPIO_MODE_EVT_RISING;
  GPIO_InitStruct.Pull = GPIO_NOPULL;
  HAL_GPIO_Init(GYRO_INT1_GPIO_Port, &GPIO_InitStruct);

  /*Configure GPIO pins : USART_TX_Pin USART_RX_Pin */
  GPIO_InitStruct.Pin = USART_TX_Pin|USART_RX_Pin;
  GPIO_InitStruct.Mode = GPIO_MODE_AF_PP;
  GPIO_InitStruct.Pull = GPIO_PULLUP;
  GPIO_InitStruct.Speed = GPIO_SPEED_FREQ_VERY_HIGH;
  GPIO_InitStruct.Alternate = GPIO_AF7_USART2;
  HAL_GPIO_Init(GPIOD, &GPIO_InitStruct);

  /*Configure GPIO pin : GYRO_CS_Pin */
  GPIO_InitStruct.Pin = GYRO_CS_Pin;
  GPIO_InitStruct.Mode = GPIO_MODE_OUTPUT_PP;
  GPIO_InitStruct.Pull = GPIO_NOPULL;
  GPIO_InitStruct.Speed = GPIO_SPEED_FREQ_VERY_HIGH;
  HAL_GPIO_Init(GYRO_CS_GPIO_Port, &GPIO_InitStruct);

  /*Configure GPIO pin : M3V3_REG_ON_Pin */
  GPIO_InitStruct.Pin = M3V3_REG_ON_Pin;
  GPIO_InitStruct.Mode = GPIO_MODE_OUTPUT_PP;
  GPIO_InitStruct.Pull = GPIO_NOPULL;
  GPIO_InitStruct.Speed = GPIO_SPEED_FREQ_LOW;
  HAL_GPIO_Init(M3V3_REG_ON_GPIO_Port, &GPIO_InitStruct);

  /*Configure GPIO pins : I2C1_SCL_Pin I2C1_SDA_Pin */
  GPIO_InitStruct.Pin = I2C1_SCL_Pin|I2C1_SDA_Pin;
  GPIO_InitStruct.Mode = GPIO_MODE_AF_OD;
  GPIO_InitStruct.Pull = GPIO_NOPULL;
  GPIO_InitStruct.Speed = GPIO_SPEED_FREQ_VERY_HIGH;
  GPIO_InitStruct.Alternate = GPIO_AF4_I2C1;
  HAL_GPIO_Init(GPIOB, &GPIO_InitStruct);

  /*Configure GPIO pin : GYRO_INT2_Pin */
  GPIO_InitStruct.Pin = GYRO_INT2_Pin;
  GPIO_InitStruct.Mode = GPIO_MODE_EVT_RISING;
  GPIO_InitStruct.Pull = GPIO_NOPULL;
  HAL_GPIO_Init(GYRO_INT2_GPIO_Port, &GPIO_InitStruct);

  /*Configure GPIO pin : XL_CS_Pin */
  GPIO_InitStruct.Pin = XL_CS_Pin;
  GPIO_InitStruct.Mode = GPIO_MODE_OUTPUT_PP;
  GPIO_InitStruct.Pull = GPIO_NOPULL;
  GPIO_InitStruct.Speed = GPIO_SPEED_FREQ_LOW;
  HAL_GPIO_Init(XL_CS_GPIO_Port, &GPIO_InitStruct);

  /*Configure GPIO pin : XL_INT_Pin */
  GPIO_InitStruct.Pin = XL_INT_Pin;
  GPIO_InitStruct.Mode = GPIO_MODE_EVT_RISING;
  GPIO_InitStruct.Pull = GPIO_NOPULL;
  HAL_GPIO_Init(XL_INT_GPIO_Port, &GPIO_InitStruct);

}

void Error_Handler(void)
{
}
